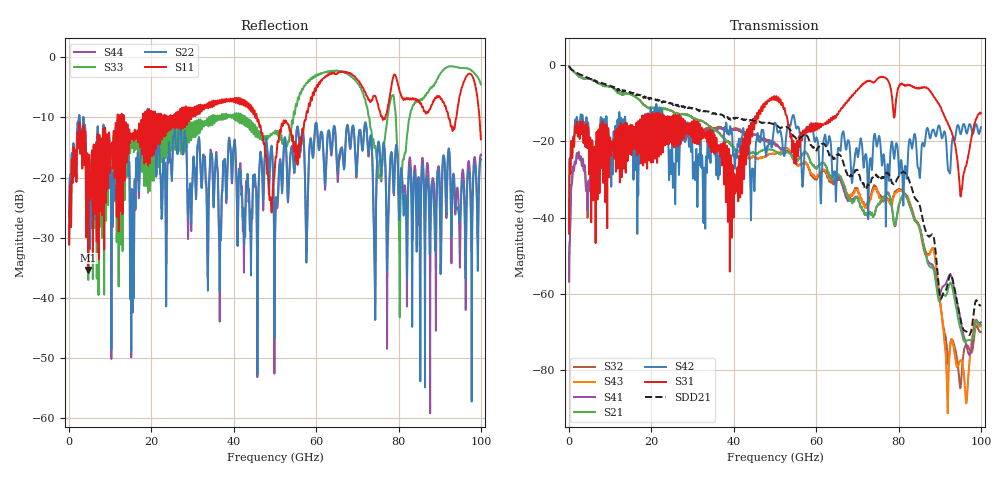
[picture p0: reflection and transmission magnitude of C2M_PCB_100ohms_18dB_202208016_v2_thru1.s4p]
! Info: Touchstone file created by Circ.  Input file=Intel_C2M_200G_6p0in_202208016_staggered.circ
# Hz S RI R 50
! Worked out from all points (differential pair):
!   10000 points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, 10 MHz to 100 GHz, reference 50 ohm
!   strongest paths, dB at 10 MHz, 25.01 GHz, 50.01 GHz, 75.01 GHz, 100 GHz:
!     S31: -44.2, -16.8, -9.0, -3.5, -12.7
!     S42: -44.2, -21.0, -15.1, -19.8, -16.3
!     S21: -0.2, -12.0, -22.6, -36.5, -68.3
!     S41: -56.8, -19.0, -20.4, -36.5, -67.5
!     S43: -0.2, -12.0, -23.3, -33.6, -68.2
!     S32: -56.8, -18.7, -20.9, -33.1, -70.0
!   taken as a pair (ports 1,3 in; 2,4 out), SDD21 dB: -0.2, -10.0, -15.7, -29.2, -62.9
!   lowest |S11| = -35.4 dB at 4.66 GHz (marker M1), VSWR 1.03, Z = 50.1 - j1.7 ohm
!   |S11| at or under -10 dB: start of sweep to 11.75 GHz; 13.28 GHz to 17.94 GHz (4.661 GHz wide, 29.9 % of centre); 45.6 GHz to 57.53 GHz (11.93 GHz wide, 23.1 % of centre)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
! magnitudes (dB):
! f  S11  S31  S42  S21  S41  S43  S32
! 10 MHz  -31.1  -44.2  -44.2  -0.2  -56.8  -0.2  -56.8
! 1.44 GHz  -16.3  -16.0  -14.5  -2.0  -25.3  -2.0  -25.3
! 4.66 GHz  -35.4  -16.3  -15.2  -3.5  -30.8  -3.5  -31.1
! 43.99 GHz  -8.0  -19.5  -30.5  -23.2  -17.9  -24.4  -17.6
! 80.88 GHz  -6.7  -4.9  -27.4  -34.3  -34.6  -33.2  -32.9
! 91.83 GHz  -9.0  -14.8  -24.7  -59.7  -56.5  -86.0  -75.1
! 100 GHz  -13.6  -12.7  -16.3  -68.3  -67.5  -68.2  -70.0
